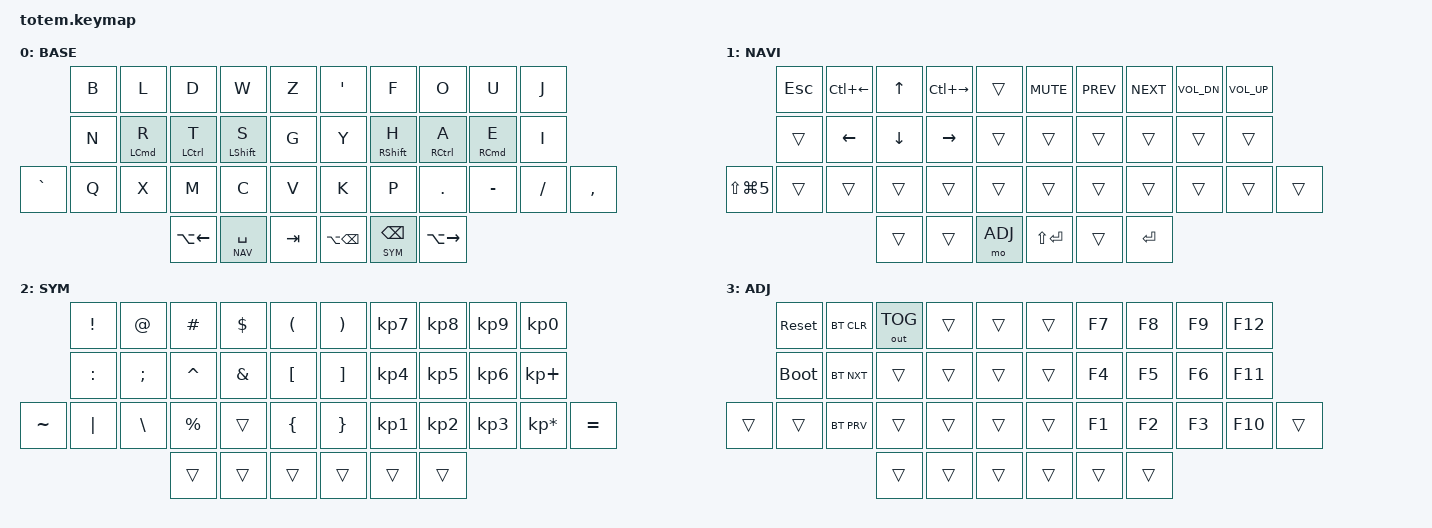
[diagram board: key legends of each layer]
//
//                                                        ▀▀▀▀▀     ▀▀▀▀▀          ▀▀█▀▀
//                                                        ▄▀▀▀▄  ▄  ▄▀▀▀▄  ▄  ▄▀▀▀▄  █  ▄▀▀▀▄
//                                                        █   █  █  █   █  █  █   █  █  █   █
//                                                         ▀▀▀   █   ▀▀▀   █   ▀▀▀   ▀   ▀▀▀
//                                                               █      ▄▄▄█▄▄▄    █   █  
//                                                               ▀      █  █  █     █▄█
//                                                             ▀▀▀▀▀    █  █  █      ▀
//                                                                      ▀  ▀  ▀
//
// ▄▄▄▄▄▄▄▄▄▄▄▄▄▄▄▄▄▄▄▄▄▄▄▄▄▄▄▄▄▄▄▄▄▄▄▄▄▄▄▄▄▄▄▄▄▄▄▄▄▄▄▄▄▄▄▄▄▄▄▄▄▄▄▄▄▄▄▄▄▄▄▄▄▄▄▄▄▄▄▄▄▄▄▄▄▄▄▄▄▄▄▄▄▄▄▄▄▄▄▄▄▄▄▄▄▄▄▄▄▄▄▄▄▄▄▄▄▄▄▄▄▄▄▄▄▄▄▄▄▄▄▄▄▄▄▄▄▄▄▄▄▄▄▄▄▄▄▄▄
       

#include <behaviors.dtsi>
#include <dt-bindings/zmk/keys.h>
#include <dt-bindings/zmk/bt.h>
#include <dt-bindings/zmk/outputs.h>

#define BASE 0
#define NAV  1
#define SYM  2
#define ADJ  3

&mt {
  quick-tap-ms = <100>;
  global-quick-tap;
  flavor = "tap-preferred";
  tapping-term-ms = <170>;
};

/ {
        keymap {
                compatible = "zmk,keymap";
// ▄▄▄▄▄▄▄▄▄▄▄▄▄▄▄▄▄▄▄▄▄▄▄▄▄▄▄▄▄▄▄▄▄▄▄▄▄▄▄▄▄▄▄▄▄▄▄▄▄▄▄▄▄▄▄▄▄▄▄▄▄▄▄▄▄▄▄▄▄▄▄▄▄▄▄▄▄▄▄▄▄▄▄▄▄▄▄▄▄▄▄▄▄▄▄▄▄▄▄▄▄▄▄▄▄▄▄▄▄▄▄▄▄▄▄▄▄▄▄▄▄▄▄▄▄▄▄▄▄▄▄▄▄▄▄▄▄▄▄▄▄▄▄▄▄▄▄▄▄

                base_layer {
// ┏━━━━━━━━━━━━━━━━━━━━━━━━━━━━━━━━━━━━━━━┓
label= "BASE"                              ;
// ┗━━━━━━━━━━━━━━━━━━━━━━━━━━━━━━━━━━━━━━━┛
//             ┏━━━━━━━━━━━┳━━━━━━━━━━━┳━━━━━━━━━━━┳━━━━━━━━━━━┳━━━━━━━━━━━┓   ┏━━━━━━━━━━━┳━━━━━━━━━━━┳━━━━━━━━━━━┳━━━━━━━━━━━┳━━━━━━━━━━━┓
//             ┃     B     ┃     L     ┃     D     ┃     W     ┃     Z     ┃   ┃     '     ┃     F     ┃     O     ┃     U     ┃     J     ┃
//             ┣━━━━━━━━━━━╋━━━━━━━━━━━╋━━━━━━━━━━━╋━━━━━━━━━━━╋━━━━━━━━━━━┫   ┣━━━━━━━━━━━╋━━━━━━━━━━━╋━━━━━━━━━━━╋━━━━━━━━━━━╋━━━━━━━━━━━┫
//             ┃     N     ┃     R     ┃     T     ┃     S     ┃     G     ┃   ┃     Y     ┃     H     ┃     A     ┃     E     ┃     I     ┃
// ┏━━━━━━━━━━━╋━━━━━━━━━━━╋━━━━━━━━━━━╋━━━━━━━━━━━╋━━━━━━━━━━━╋━━━━━━━━━━━┫   ┣━━━━━━━━━━━╋━━━━━━━━━━━╋━━━━━━━━━━━╋━━━━━━━━━━━╋━━━━━━━━━━━╋━━━━━━━━━━━┓
// ┃     `     ┃     Q     ┃     X     ┃     M     ┃     C     ┃     V     ┃   ┃     K     ┃     P     ┃     .     ┃     -     ┃     /     ┃     ,     ┃
// ┗━━━━━━━━━━━┻━━━━━━━━━━━┻━━━━━━━━━━━╋━━━━━━━━━━━╋━━━━━━━━━━━╋━━━━━━━━━━━┫   ┣━━━━━━━━━━━╋━━━━━━━━━━━╋━━━━━━━━━━━╋━━━━━━━━━━━┻━━━━━━━━━━━┻━━━━━━━━━━━┛
//                                     ┃  LA(LEFT) ┃  NAV/SPC  ┃    TAB    ┃   ┃  LA(BSPC) ┃  SYM/BSPC ┃ LA(RIGHT) ┃
//                                     ┗━━━━━━━━━━━┻━━━━━━━━━━━┻━━━━━━━━━━━┛   ┗━━━━━━━━━━━┻━━━━━━━━━━━┻━━━━━━━━━━━┛
 bindings = <
// ╷           ╷           ╷           ╷           ╷           ╷           ╷   ╷           ╷           ╷           ╷           ╷           ╷           ╷

                &kp B       &kp L       &kp D       &kp W       &kp Z           &kp APOS    &kp F       &kp O       &kp U       &kp J
                &kp N       &mt LCMD R  &mt LCTRL T &mt LSHFT S &kp G           &kp Y       &mt RSHFT H &mt RCTRL A &mt RCMD E  &kp I
    &kp GRAVE   &kp Q       &kp X       &kp M       &kp C       &kp V           &kp K       &kp P       &kp DOT     &kp MINUS   &kp SLASH    &kp COMMA
                                        &kp LA(LEFT) &lt NAV SPACE &kp TAB       &kp LA(BSPC) &lt SYM BSPC &kp LA(RIGHT)
                        >;
                };

// ▄▄▄▄▄▄▄▄▄▄▄▄▄▄▄▄▄▄▄▄▄▄▄▄▄▄▄▄▄▄▄▄▄▄▄▄▄▄▄▄▄▄▄▄▄▄▄▄▄▄▄▄▄▄▄▄▄▄▄▄▄▄▄▄▄▄▄▄▄▄▄▄▄▄▄▄▄▄▄▄▄▄▄▄▄▄▄▄▄▄▄▄▄▄▄▄▄▄▄▄▄▄▄▄▄▄▄▄▄▄▄▄▄▄▄▄▄▄▄▄▄▄▄▄▄▄▄▄▄▄▄▄▄▄▄▄▄▄▄▄▄▄▄▄▄▄▄▄▄


                nav_layer {
// ┏━━━━━━━━━━━━━━━━━━━━━━━━━━━━━━━━━━━━━━━┓
label= "NAVI"                              ;
// ┗━━━━━━━━━━━━━━━━━━━━━━━━━━━━━━━━━━━━━━━┛
//             ┏━━━━━━━━━━━┳━━━━━━━━━━━┳━━━━━━━━━━━┳━━━━━━━━━━━┳━━━━━━━━━━━┓   ┏━━━━━━━━━━━┳━━━━━━━━━━━┳━━━━━━━━━━━┳━━━━━━━━━━━┳━━━━━━━━━━━┓
//             ┃   ESC     ┃ LC(LEFT)  ┃     UP    ┃ LC(RIGHT) ┃           ┃   ┃   MUTE    ┃   LAST    ┃   NEXT    ┃   VOL-    ┃   VOL+    ┃
//             ┣━━━━━━━━━━━╋━━━━━━━━━━━╋━━━━━━━━━━━╋━━━━━━━━━━━╋━━━━━━━━━━━┫   ┣━━━━━━━━━━━╋━━━━━━━━━━━╋━━━━━━━━━━━╋━━━━━━━━━━━╋━━━━━━━━━━━┫
//             ┃           ┃   LEFT    ┃    DOWN   ┃   RIGHT   ┃           ┃   ┃           ┃           ┃           ┃           ┃           ┃
// ┏━━━━━━━━━━━╋━━━━━━━━━━━╋━━━━━━━━━━━╋━━━━━━━━━━━╋━━━━━━━━━━━╋━━━━━━━━━━━┫   ┣━━━━━━━━━━━╋━━━━━━━━━━━╋━━━━━━━━━━━╋━━━━━━━━━━━╋━━━━━━━━━━━╋━━━━━━━━━━━┓
// ┃   SCRN    ┃           ┃           ┃           ┃           ┃           ┃   ┃           ┃           ┃           ┃           ┃           ┃           ┃
// ┗━━━━━━━━━━━┻━━━━━━━━━━━┻━━━━━━━━━━━╋━━━━━━━━━━━╋━━━━━━━━━━━╋━━━━━━━━━━━┫   ┣━━━━━━━━━━━╋━━━━━━━━━━━╋━━━━━━━━━━━╋━━━━━━━━━━━┻━━━━━━━━━━━┻━━━━━━━━━━━┛
//                                     ┃           ┃           ┃    ADJ    ┃   ┃  LS(RET)  ┃           ┃    RET    ┃
//                                     ┗━━━━━━━━━━━┻━━━━━━━━━━━┻━━━━━━━━━━━┛   ┗━━━━━━━━━━━┻━━━━━━━━━━━┻━━━━━━━━━━━┛
 bindings = <
// ╷           ╷           ╷           ╷           ╷           ╷           ╷   ╷           ╷           ╷           ╷           ╷           ╷           ╷

                &kp ESC     &kp LC(LEFT) &kp UP    &kp LC(RIGHT) &trans        &kp C_MUTE  &kp C_PREV  &kp C_NEXT  &kp C_VOL_DN &kp C_VOL_UP
                &trans      &kp LEFT    &kp DOWN   &kp RIGHT   &trans          &trans      &trans      &trans      &trans       &trans
&kp LS(LG(N5))  &trans      &trans      &trans     &trans      &trans          &trans      &trans      &trans      &trans       &trans     &trans      
                                        &trans     &trans      &mo ADJ         &kp LS(RET) &trans      &kp RET      
                        >;
                };

// ▄▄▄▄▄▄▄▄▄▄▄▄▄▄▄▄▄▄▄▄▄▄▄▄▄▄▄▄▄▄▄▄▄▄▄▄▄▄▄▄▄▄▄▄▄▄▄▄▄▄▄▄▄▄▄▄▄▄▄▄▄▄▄▄▄▄▄▄▄▄▄▄▄▄▄▄▄▄▄▄▄▄▄▄▄▄▄▄▄▄▄▄▄▄▄▄▄▄▄▄▄▄▄▄▄▄▄▄▄▄▄▄▄▄▄▄▄▄▄▄▄▄▄▄▄▄▄▄▄▄▄▄▄▄▄▄▄▄▄▄▄▄▄▄▄▄▄▄▄


                sim_layer {
// ┏━━━━━━━━━━━━━━━━━━━━━━━━━━━━━━━━━━━━━━━┓
label= "SYM"                               ;
// ┗━━━━━━━━━━━━━━━━━━━━━━━━━━━━━━━━━━━━━━━┛
//             ┏━━━━━━━━━━━┳━━━━━━━━━━━┳━━━━━━━━━━━┳━━━━━━━━━━━┳━━━━━━━━━━━┓   ┏━━━━━━━━━━━┳━━━━━━━━━━━┳━━━━━━━━━━━┳━━━━━━━━━━━┳━━━━━━━━━━━┓
//             ┃     !     ┃     @     ┃     #     ┃     $     ┃     (     ┃   ┃     )     ┃     7     ┃     8     ┃     9     ┃     0     ┃
//             ┣━━━━━━━━━━━╋━━━━━━━━━━━╋━━━━━━━━━━━╋━━━━━━━━━━━╋━━━━━━━━━━━┫   ┣━━━━━━━━━━━╋━━━━━━━━━━━╋━━━━━━━━━━━╋━━━━━━━━━━━╋━━━━━━━━━━━┫
//             ┃     :     ┃     :     ┃     ^     ┃     &     ┃     [     ┃   ┃     ]     ┃     4     ┃     5     ┃     6     ┃     +     ┃
// ┏━━━━━━━━━━━╋━━━━━━━━━━━╋━━━━━━━━━━━╋━━━━━━━━━━━╋━━━━━━━━━━━╋━━━━━━━━━━━┫   ┣━━━━━━━━━━━╋━━━━━━━━━━━╋━━━━━━━━━━━╋━━━━━━━━━━━╋━━━━━━━━━━━╋━━━━━━━━━━━┓
// ┃     ~     ┃     |     ┃     \     ┃     %     ┃           ┃     {     ┃   ┃     }     ┃     1     ┃     2     ┃     3     ┃     *     ┃     =     ┃
// ┗━━━━━━━━━━━┻━━━━━━━━━━━┻━━━━━━━━━━━╋━━━━━━━━━━━╋━━━━━━━━━━━╋━━━━━━━━━━━┫   ┣━━━━━━━━━━━╋━━━━━━━━━━━╋━━━━━━━━━━━╋━━━━━━━━━━━┻━━━━━━━━━━━┻━━━━━━━━━━━┛
//                                     ┃           ┃           ┃           ┃   ┃           ┃           ┃           ┃
//                                     ┗━━━━━━━━━━━┻━━━━━━━━━━━┻━━━━━━━━━━━┛   ┗━━━━━━━━━━━┻━━━━━━━━━━━┻━━━━━━━━━━━┛
 bindings = <
// ╷           ╷           ╷           ╷           ╷           ╷           ╷   ╷           ╷           ╷           ╷           ╷           ╷           ╷

                &kp EXCL    &kp AT      &kp HASH    &kp DLLR    &kp LPAR        &kp RPAR    &kp KP_N7   &kp KP_N8   &kp KP_N9   &kp KP_N0       
                &kp COLON   &kp SEMI    &kp CARET   &kp AMPS    &kp LBKT        &kp RBKT    &kp KP_N4   &kp KP_N5   &kp KP_N6   &kp KP_PLUS
    &kp TILDE   &kp PIPE    &kp BSLH    &kp PRCNT   &trans      &kp LBRC        &kp RBRC    &kp KP_N1   &kp KP_N2   &kp KP_N3   &kp KP_MULTIPLY &kp EQUAL         
                                        &trans      &trans      &trans          &trans      &trans      &trans      
                        >;
                };

// ▄▄▄▄▄▄▄▄▄▄▄▄▄▄▄▄▄▄▄▄▄▄▄▄▄▄▄▄▄▄▄▄▄▄▄▄▄▄▄▄▄▄▄▄▄▄▄▄▄▄▄▄▄▄▄▄▄▄▄▄▄▄▄▄▄▄▄▄▄▄▄▄▄▄▄▄▄▄▄▄▄▄▄▄▄▄▄▄▄▄▄▄▄▄▄▄▄▄▄▄▄▄▄▄▄▄▄▄▄▄▄▄▄▄▄▄▄▄▄▄▄▄▄▄▄▄▄▄▄▄▄▄▄▄▄▄▄▄▄▄▄▄▄▄▄▄▄▄▄

                adjust_layer {
// ┏━━━━━━━━━━━━━━━━━━━━━━━━━━━━━━━━━━━━━━━┓
label= "ADJ"                               ;
// ┗━━━━━━━━━━━━━━━━━━━━━━━━━━━━━━━━━━━━━━━┛
//             ┏━━━━━━━━━━━┳━━━━━━━━━━━┳━━━━━━━━━━━┳━━━━━━━━━━━┳━━━━━━━━━━━┓   ┏━━━━━━━━━━━┳━━━━━━━━━━━┳━━━━━━━━━━━┳━━━━━━━━━━━┳━━━━━━━━━━━┓
//             ┃   RESET   ┃ BT CLEAR  ┃  OUT TOG  ┃           ┃           ┃   ┃           ┃    F7     ┃    F8     ┃    F9     ┃    F12    ┃
//             ┣━━━━━━━━━━━╋━━━━━━━━━━━╋━━━━━━━━━━━╋━━━━━━━━━━━╋━━━━━━━━━━━┫   ┣━━━━━━━━━━━╋━━━━━━━━━━━╋━━━━━━━━━━━╋━━━━━━━━━━━╋━━━━━━━━━━━┫
//             ┃ BOOTLOAD  ┃ BT NEXT   ┃           ┃           ┃           ┃   ┃           ┃    F4     ┃    F5     ┃    F6     ┃    F11    ┃
// ┏━━━━━━━━━━━╋━━━━━━━━━━━╋━━━━━━━━━━━╋━━━━━━━━━━━╋━━━━━━━━━━━╋━━━━━━━━━━━┫   ┣━━━━━━━━━━━╋━━━━━━━━━━━╋━━━━━━━━━━━╋━━━━━━━━━━━╋━━━━━━━━━━━╋━━━━━━━━━━━┓
// ┃           ┃           ┃ BT PREV   ┃           ┃           ┃           ┃   ┃           ┃    F1     ┃    F2     ┃    F3     ┃    F10    ┃           ┃
// ┗━━━━━━━━━━━┻━━━━━━━━━━━┻━━━━━━━━━━━╋━━━━━━━━━━━╋━━━━━━━━━━━╋━━━━━━━━━━━┫   ┣━━━━━━━━━━━╋━━━━━━━━━━━╋━━━━━━━━━━━╋━━━━━━━━━━━┻━━━━━━━━━━━┻━━━━━━━━━━━┛
//                                     ┃           ┃           ┃           ┃   ┃           ┃           ┃           ┃
//                                     ┗━━━━━━━━━━━┻━━━━━━━━━━━┻━━━━━━━━━━━┛   ┗━━━━━━━━━━━┻━━━━━━━━━━━┻━━━━━━━━━━━┛
 bindings = <
// ╷           ╷           ╷           ╷           ╷           ╷           ╷   ╷           ╷           ╷           ╷           ╷           ╷           ╷

                &sys_reset  &bt BT_CLR &out OUT_TOG &trans      &trans          &trans      &kp F7      &kp F8      &kp F9      &kp F12
                &bootloader &bt BT_NXT  &trans      &trans      &trans          &trans      &kp F4      &kp F5      &kp F6      &kp F11  
    &trans      &trans      &bt BT_PRV  &trans      &trans      &trans          &trans      &kp F1      &kp F2      &kp F3      &kp F10     &trans         
                                        &trans      &trans      &trans          &trans      &trans      &trans      
                        >;
                };

// ▄▄▄▄▄▄▄▄▄▄▄▄▄▄▄▄▄▄▄▄▄▄▄▄▄▄▄▄▄▄▄▄▄▄▄▄▄▄▄▄▄▄▄▄▄▄▄▄▄▄▄▄▄▄▄▄▄▄▄▄▄▄▄▄▄▄▄▄▄▄▄▄▄▄▄▄▄▄▄▄▄▄▄▄▄▄▄▄▄▄▄▄▄▄▄▄▄▄▄▄▄▄▄▄▄▄▄▄▄▄▄▄▄▄▄▄▄▄▄▄▄▄▄▄▄▄▄▄▄▄▄▄▄▄▄▄▄▄▄▄▄▄▄▄▄▄▄▄▄
// ▄▄▄▄▄▄▄▄▄▄▄▄▄▄▄▄▄▄▄▄▄▄▄▄▄▄▄▄▄▄▄▄▄▄▄▄▄▄▄▄▄▄▄▄▄▄▄▄▄▄▄▄▄▄▄▄▄▄▄▄▄▄▄▄▄▄▄▄▄▄▄▄▄▄▄▄▄▄▄▄▄▄▄▄▄▄▄▄▄▄▄▄▄▄▄▄▄▄▄▄▄▄▄▄▄▄▄▄▄▄▄▄▄▄▄▄▄▄▄▄▄▄▄▄▄▄▄▄▄▄▄▄▄▄▄▄▄▄▄▄▄▄▄▄▄▄▄▄▄
// ▄▄▄▄▄▄▄▄▄▄▄▄▄▄▄▄▄▄▄▄▄▄▄▄▄▄▄▄▄▄▄▄▄▄▄▄▄▄▄▄▄▄▄▄▄▄▄▄▄▄▄▄▄▄▄▄▄▄▄▄▄▄▄▄▄▄▄▄▄▄▄▄▄▄▄▄▄▄▄▄▄▄▄▄▄▄▄▄▄▄▄▄▄▄▄▄▄▄▄▄▄▄▄▄▄▄▄▄▄▄▄▄▄▄▄▄▄▄▄▄▄▄▄▄▄▄▄▄▄▄▄▄▄▄▄▄▄▄▄▄▄▄▄▄▄▄▄▄▄

        };
};
